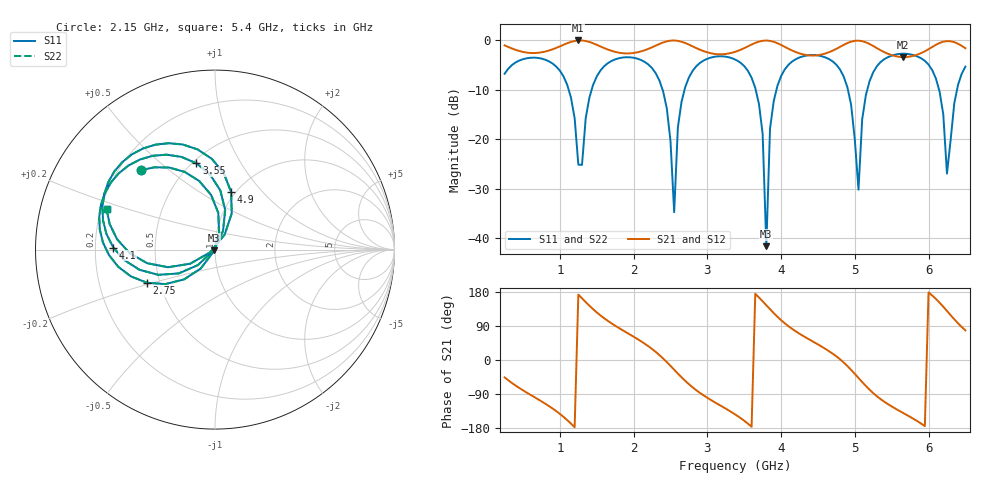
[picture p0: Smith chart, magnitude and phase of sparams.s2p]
! NobuRF kit-ro22-line48: ports 1 "p1", 2 "p2"; 11600 + 11600 steps
# GHz S RI R 50
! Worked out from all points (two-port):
!   126 points, 250 MHz to 6.5 GHz, reference 50 ohm
!   highest |S21| = -0.02 dB at 1.25 GHz (marker M1); lowest = -3.4 dB at 5.65 GHz (marker M2)
!   |S21| within 3 dB of the highest: start of sweep to 4.374 GHz; 4.478 GHz to 5.508 GHz (1.031 GHz wide, 20.6 % of centre)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
!   lowest |S11| = -41.6 dB at 3.8 GHz (marker M3), VSWR 1.02, Z = 49.2 - j0.319 ohm
!   |S11| at or under -10 dB: 1.119 GHz to 1.431 GHz (311.3 MHz wide, 24.4 % of centre); 2.393 GHz to 2.691 GHz (297.5 MHz wide, 11.7 % of centre); 3.656 GHz to 3.937 GHz (281.3 MHz wide, 7.41 % of centre)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
!   |S22| runs from -41.6 to -2.7 dB; largest |S21 - S12| = 2.4e-07
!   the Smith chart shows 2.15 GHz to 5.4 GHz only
!   S11 on the Smith chart (normalised r, x): 2.15 GHz: 0.29, +0.40; 2.75 GHz: 0.42, -0.19; 3.55 GHz: 0.52, +0.66; 4.1 GHz: 0.28, +0.01; 4.9 GHz: 0.95, +0.69; 5.4 GHz: 0.22, +0.17
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0.25  -0.329 -0.3205  0.6187 -0.638  0.6187 -0.638  -0.329 -0.3205
1  -0.3023 0.39  -0.6875 -0.5322  -0.6875 -0.5322  -0.3023 0.39
1.25  0.00543 0.0552  -0.9891 0.1267  -0.9891 0.1267  0.00543 0.0552
1.3  -0.0183 -0.0521  -0.9519 0.296  -0.9519 0.296  -0.0183 -0.0521
2.15  -0.4143 0.4419  0.5806 0.5418  0.5806 0.5418  -0.4143 0.4419
2.35  -0.0882 0.3825  0.8957 0.2065  0.8957 0.2065  -0.0882 0.3825
2.55  -0.0107 -0.0149  0.8989 -0.4313  0.8989 -0.4313  -0.0107 -0.0149
2.75  -0.3789 -0.1846  0.3984 -0.8128  0.3984 -0.8128  -0.3789 -0.1846
3.4  -0.3473 0.5227  -0.6474 -0.4278  -0.6474 -0.4278  -0.3473 0.5227
3.55  -0.1036 0.4809  -0.85 -0.1823  -0.85 -0.1823  -0.1036 0.4809
3.75  0.0449 0.1042  -0.8963 0.4206  -0.8963 0.4206  0.0449 0.1042
3.8  -0.00767 -0.00324  -0.8104 0.5789  -0.8104 0.5789  -0.00767 -0.00324
3.85  -0.0945 -0.086  -0.687 0.7099  -0.687 0.7099  -0.0945 -0.086
4.1  -0.5663 0.0112  0.0123 0.8218  0.0123 0.8218  -0.5663 0.0112
4.45  -0.516 0.4882  0.4824 0.5111  0.4824 0.5111  -0.516 0.4882
4.9  0.0895 0.322  0.9024 -0.2591  0.9024 -0.2591  0.0895 0.322
5.05  -0.027 -0.0151  0.6722 -0.7304  0.6722 -0.7304  -0.027 -0.0151
5.4  -0.6045 0.2258  -0.2612 -0.7129  -0.2612 -0.7129  -0.6045 0.2258
5.5  -0.5901 0.3768  -0.3811 -0.5976  -0.3811 -0.5976  -0.5901 0.3768
5.65  -0.4809 0.554  -0.5121 -0.4426  -0.5121 -0.4426  -0.4809 0.554
6.25  0.0218 0.0394  -0.6257 0.7579  -0.6257 0.7579  0.0218 0.0394
6.5  -0.53 0.1169  0.169 0.8152  0.169 0.8152  -0.53 0.1169
